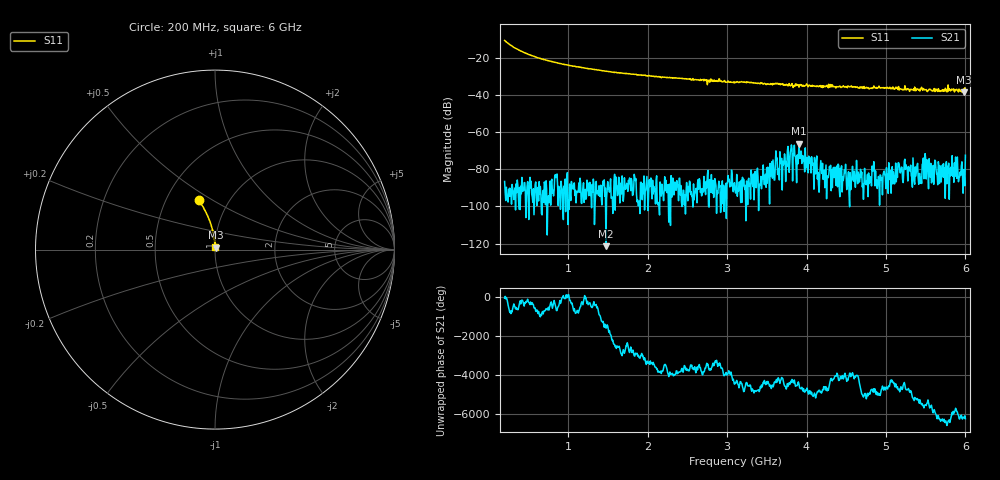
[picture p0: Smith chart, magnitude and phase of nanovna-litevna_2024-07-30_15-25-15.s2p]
! NanoVNA-App by OneOfEleven et al v1.1.209 (+OD15)
! Date: 2024-07-30 15:25:19
! Start: 200MHz Stop: 6GHz Points: 801
! S-Parameter data: F S11 S21 S12 S22
# Hz S RI R 50
!  Frequency  S11_Real  S11_Imag  S21_Real  S21_Imag  S12_Real  S12_Imag  S22_Real  S22_Imag
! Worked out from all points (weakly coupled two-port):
!   801 points, 200 MHz to 6 GHz, reference 50 ohm
!   highest |S21| = -66.36 dB at 3.905 GHz (marker M1); lowest = -121.4 dB at 1.476 GHz (marker M2)
!   lowest |S11| = -38.7 dB at 5.986 GHz (marker M3), VSWR 1.02, Z = 50.5 + j1.04 ohm
!   |S11| at or under -10 dB: start of sweep to end of sweep
!   S12 and S22 are empty: the file has one direction only
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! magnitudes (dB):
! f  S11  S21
! 200 MHz  -10.8  -86.6
! 584.2 MHz  -19.5  -88.5
! 1.171 GHz  -25.4  -98.4
! 1.476 GHz  -27.4  -121.4
! 2.136 GHz  -30.2  -97.9
! 3.1 GHz  -33.2  -91.0
! 3.506 GHz  -34.1  -87.5
! 3.724 GHz  -34.8  -71.8
! 3.789 GHz  -34.8  -76.8
! 3.832 GHz  -36.1  -71.6
! 3.854 GHz  -35.5  -73.0
! 3.905 GHz  -35.9  -66.4
! 3.992 GHz  -34.9  -79.5
! 4.072 GHz  -34.9  -77.0
! 4.238 GHz  -35.6  -84.2
! 5.036 GHz  -36.6  -76.5
! 5.434 GHz  -37.1  -87.6
! 5.492 GHz  -37.3  -71.6
! 5.58 GHz  -37.9  -86.7
! 5.964 GHz  -38.2  -83.6
! 5.986 GHz  -38.7  -83.8
! 6 GHz  -37.3  -72.5
